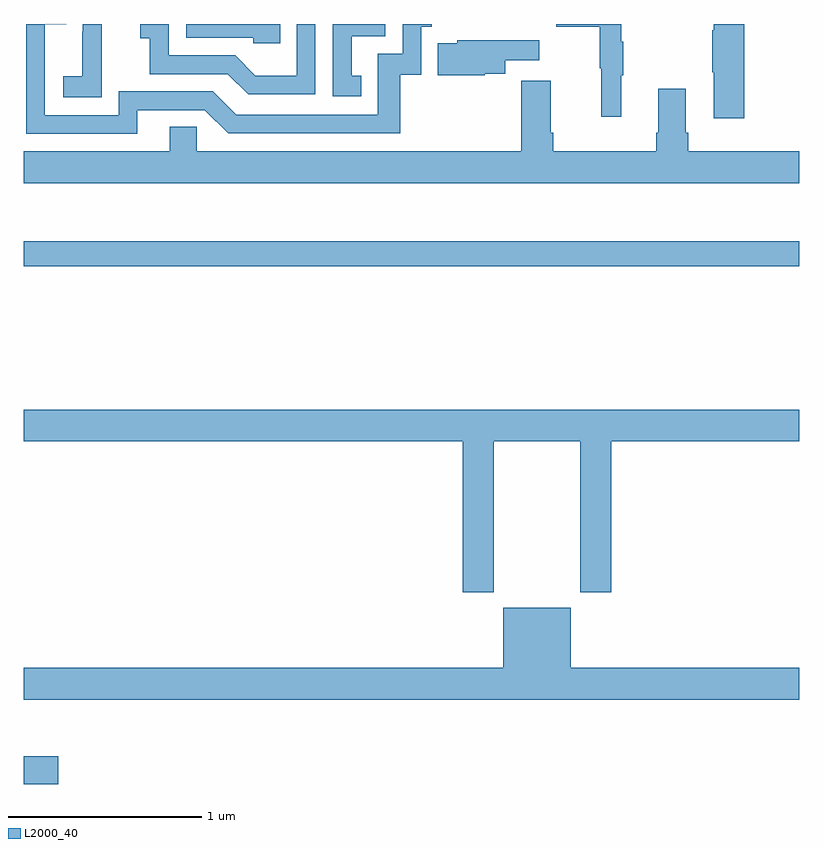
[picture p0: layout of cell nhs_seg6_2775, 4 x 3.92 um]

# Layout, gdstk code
import gdstk
lib = gdstk.Library(unit=1e-6, precision=1e-09)
def R(c, l, rs):  # rectangles x0, y0, x1, y1
    for r in rs: c.add(gdstk.rectangle(r[:2], r[2:], *l))
def P(c, l, *ps):  # polygons
    for p in ps: c.add(gdstk.Polygon(p, *l))
L2000_40 = (2000, 40)

nhs_seg6_2775 = lib.new_cell('nhs_seg6_2775')
R(nhs_seg6_2775, L2000_40, [(275,933.581,275.179,933.723), (275,936.25,279,936.379)])
P(nhs_seg6_2775, L2000_40, [(278.717,937.5),(278.558,937.5),(278.558,937.469),(278.551,937.469),(278.551,937.252),(278.558,937.252),(278.558,937.014),(278.717,937.014)],
  [(275.587,937.056),(275.934,937.056),(276.054,936.936),(276.941,936.936),(276.941,937.239),(277.05,937.239),(277.05,937.485),(277.105,937.485),(277.105,937.5),(276.954,937.5),(276.954,937.347),(276.825,937.347),(276.825,937.032),(276.096,937.032),(275.976,937.152),(275.49,937.152),(275.49,937.029),(275.109,937.029),(275.109,937.498),(275.219,937.498),(275.219,937.5),(275.013,937.5),(275.013,936.933),(275.587,936.933)],
  [(276.504,937.5),(276.408,937.5),(276.408,937.234),(276.194,937.234),(276.09,937.338),(275.748,937.338),(275.748,937.5),(275.601,937.5),(275.601,937.427),(275.65,937.427),(275.65,937.242),(276.053,937.242),(276.158,937.137),(276.504,937.137)],
  [(278.081,937.235),(278.092,937.235),(278.092,937.409),(278.081,937.409),(278.081,937.5),(277.747,937.5),(277.747,937.486),(277.971,937.486),(277.971,937.272),(277.978,937.272),(277.978,937.023),(278.081,937.023)],
  [(276.74,937.233),(276.691,937.233),(276.691,937.437),(276.864,937.437),(276.864,937.5),(276.594,937.5),(276.594,937.128),(276.74,937.128)],
  [(275.403,937.327),(275.402,937.327),(275.402,937.5),(275.304,937.5),(275.304,937.46),(275.303,937.46),(275.303,937.231),(275.205,937.231),(275.205,937.121),(275.403,937.121)],
  [(276.323,937.5),(275.838,937.5),(275.838,937.428),(276.183,937.428),(276.183,937.401),(276.323,937.401)],
  [(277.379,937.244),(277.483,937.244),(277.483,937.313),(277.66,937.313),(277.66,937.417),(277.236,937.417),(277.236,937.402),(277.135,937.402),(277.135,937.237),(277.379,937.237)],
  [(279,936.844),(278.426,936.844),(278.426,936.94),(278.413,936.94),(278.413,937.165),(278.273,937.165),(278.273,936.94),(278.261,936.94),(278.261,936.844),(277.73,936.844),(277.73,936.94),(277.717,936.94),(277.717,937.207),(277.565,937.207),(277.565,936.844),(275.892,936.844),(275.892,936.971),(275.753,936.971),(275.753,936.844),(275,936.844),(275,936.68),(279,936.68)],
  [(277.425,935.348),(277.87,935.348),(277.87,934.569),(278.03,934.569),(278.03,935.348),(279,935.348),(279,935.512),(275,935.512),(275,935.348),(277.265,935.348),(277.265,934.569),(277.425,934.569)],
  [(279,934.18),(277.822,934.18),(277.822,934.489),(277.472,934.489),(277.472,934.18),(275,934.18),(275,934.016),(279,934.016)])

lib.write_gds('nhs_seg6_2775.gds')
